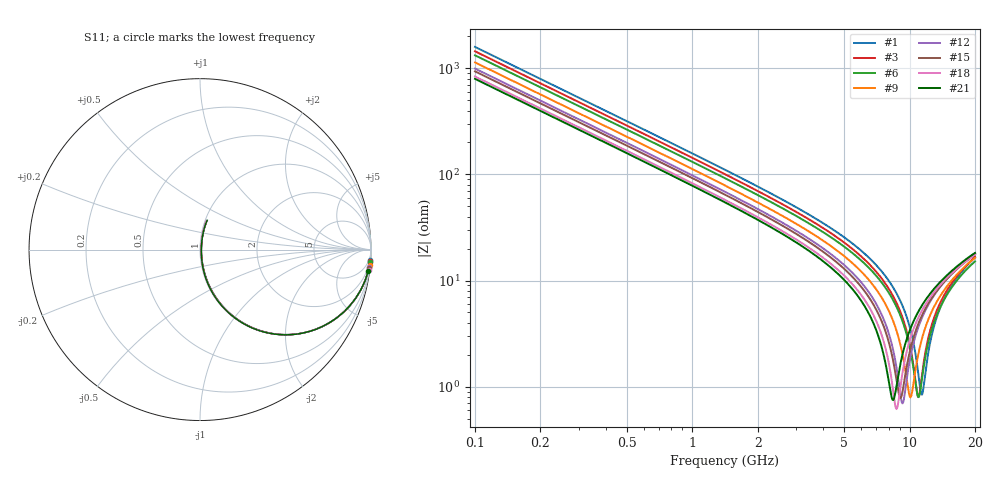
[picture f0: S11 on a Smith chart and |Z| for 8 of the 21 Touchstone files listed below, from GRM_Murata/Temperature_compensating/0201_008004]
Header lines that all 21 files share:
!These Parameters are Measured in Series Mode Connection
!Data Generated on Mar 30, 2021
!  o--ll--o
!Port1  Port2
!  o------o
!Operation Temp=25[degC], DC Bias Voltage=0[V]
!Freq. Start=100[MHz] Stop=20[GHz] 401[Steps]
# Hz S RI R 50
!Freq.(Hz) S11(Real) S11(Imag) S21(Real) S21(Imag) S12(Real) S12(Imag) S22(Real) S22(Imag)
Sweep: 100 MHz to 20 GHz
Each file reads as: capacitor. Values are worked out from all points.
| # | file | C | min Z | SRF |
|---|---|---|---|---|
| 1 | GRM0115C1C1R0BE01.s2p | 1 pF | 840 mohm | 11.38 GHz |
| 2 | GRM0115C1C1R0BE11.s2p | 1 pF | 874 mohm | 11.76 GHz |
| 3 | GRM0115C1C1R1BE01.s2p | 1.1 pF | 802 mohm | 10.97 GHz |
| 4 | GRM0115C1C1R1BE11.s2p | 1.1 pF | 807 mohm | 11.7 GHz |
| 5 | GRM0115C1C1R2BE01.s2p | 1.2 pF | 774 mohm | 10.5 GHz |
| 6 | GRM0115C1C1R2BE11.s2p | 1.2 pF | 796 mohm | 10.99 GHz |
| 7 | GRM0115C1C1R3BE01.s2p | 1.3 pF | 761 mohm | 10.34 GHz |
| 8 | GRM0115C1C1R3BE11.s2p | 1.3 pF | 795 mohm | 10.6 GHz |
| 9 | GRM0115C1C1R4BE11.s2p | 1.4 pF | 793 mohm | 10.09 GHz |
| 10 | GRM0115C1C1R5BE01.s2p | 1.5 pF | 712 mohm | 9.578 GHz |
| 11 | GRM0115C1C1R5WE11.s2p | 1.5 pF | 788 mohm | 9.77 GHz |
| 12 | GRM0115C1C1R6CE01.s2p | 1.6 pF | 697 mohm | 9.278 GHz |
| 13 | GRM0115C1C1R6WE11.s2p | 1.6 pF | 786 mohm | 9.395 GHz |
| 14 | GRM0115C1C1R7BE01.s2p | 1.7 pF | 657 mohm | 9.138 GHz |
| 15 | GRM0115C1C1R7BE11.s2p | 1.7 pF | 783 mohm | 9.084 GHz |
| 16 | GRM0115C1C1R8BE11.s2p | 1.8 pF | 768 mohm | 8.89 GHz |
| 17 | GRM0115C1C1R8CE01.s2p | 1.8 pF | 636 mohm | 8.982 GHz |
| 18 | GRM0115C1C1R9BE01.s2p | 1.9 pF | 615 mohm | 8.708 GHz |
| 19 | GRM0115C1C1R9BE11.s2p | 1.9 pF | 761 mohm | 8.635 GHz |
| 20 | GRM0115C1C2R0BE01.s2p | 2 pF | 611 mohm | 8.477 GHz |
| 21 | GRM0115C1C2R0BE11.s2p | 2 pF | 748 mohm | 8.393 GHz |
